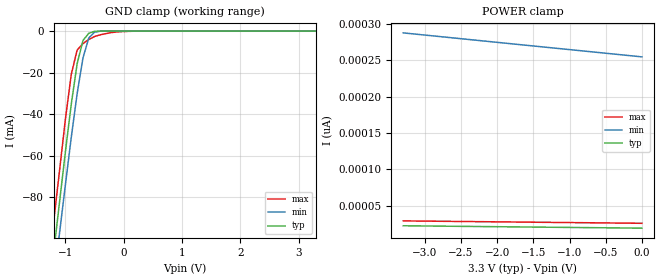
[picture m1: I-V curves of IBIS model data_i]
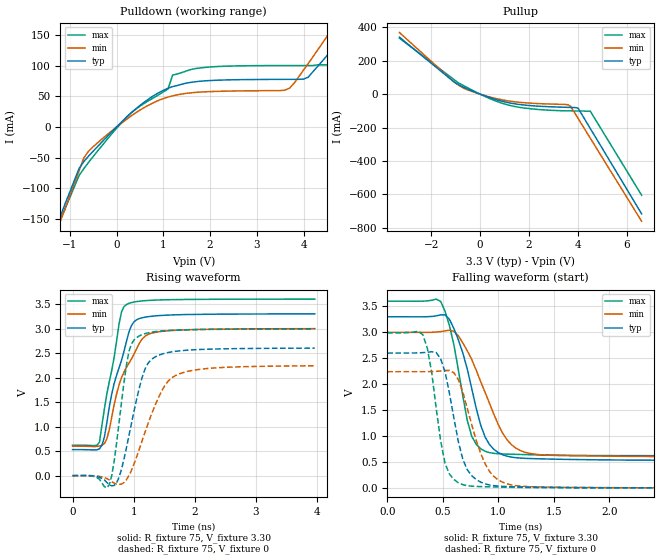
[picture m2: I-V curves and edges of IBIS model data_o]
|   ON Semiconductor Corporation
|   IBIS Model of MC74lcx14DT
|   Low-Voltage CMOS DUAL HEX Schmitt Trigger Inverter
|   TSSOP-14 (DT) Package Type
[IBIS Ver]   3.2
[Comment Char]   |_char
[File name]   mc74lcx14dt_c300.ibs
[File Rev]   1.0
[Date]   04/02/03
[Source]
From DC lab measurements and simulations for AC at ON Semiconductor
[Notes]
Created by Duane Mattheisen
Modeling Support Engineer
| This model represents the MC74lcx14DT where 3.00 <= Vcc =< 3.60
[Disclaimer]
ON Semiconductor Corporation hereby grants
the user of this IBIS model a license to use this IBIS
model under the following terms. This license in non-exclusive
and non-transferable. Before using this IBIS model. After reading
the terms and conditions of this license, the user either must accept
these terms, or the IBIS model should be returned to ON within 30 days.
     The user is hereby granted a license to use the
IBIS model. This shall not be construed as a right to sell, or otherwise
profit either by leasing or renting this software.
     The user may modify the IBIS model to suit his specific applications
but rights to derivative works and such modifications shall belong to
ON Semiconductor.
     This IBIS model is provided on an "as is" basis. ON Semiconductor
makes absolutely no warranty with respect to the information contained
herein. By use of this IBIS model, the user assumes full risk as to the
quality and suitability of the model to his particular use, and by using
this model assumes the entire risk. Under all circumstances the user shall
not hold ON Semiconductor liable in any way for the results obtained. ON
Semiconductor reserves the right to make to improve the model for reliability,
function, or design. ON Semiconductor does not convey any license under patent
rights or any other intellectual property rights, including those of third
parties.
ON Semiconductor is not obligated to provide maintenance or support
for the licensed IBIS model.
Cont ON at ATTN:LOGIC APPLICATIONS/IBIS MODEL.
5005 E. McDowell Road, Phoenix AZ 85008
[Copyright]
(c) 2002 ON Semiconductor Corp.
[Component]   mc74lcx14dt
Si_location Pin
Timing_location Pin
[Manufacturer]   ON Semiconductor Corp.
[Package]
|   Typ   Min   Max
R_pkg   0.167   0.164   0.171
L_pkg   2.13nH   1.90nH   2.58nH
C_pkg   0.25pF   0.23pF   0.27pF
[Pin] signal_name   model_name   R_pin   L_pin   C_pin
1   A1   data_i   .171   2.58nH   .27pF
2   Bar_O1   data_o   .164   2.12nH   .25pF
3   A2   data_i   .167   2.35nH   .26pF
4   Bar_O2   data_o   .164   2.12nH   .25pF
5   A3   data_i   .160   1.90nH   .23pF
6   Bar_O3   data_o   .164   2.12nH   .25pF
7   GND   GND   .171   2.58nH   .27pF
8   Bar_O4   data_o   .160   1.90nH   .23pF
9   A4   data_i   .164   2.12nH   .25pF
10   Bar_O5   data_o   .164   2.12nH   .25pF
11   A5   data_i   .171   2.58nH   .27pF
12   Bar_O6   data_o   .167   2.35nH   .26pF
13   A6   data_i   .164   2.12nH   .25pF
14   VCC   POWER   .171   2.58nH   .27pF
| Models and submodels in the file (2): data_i (Input), data_o (Output)
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[Model]   data_i
Model_type Input
 Vinh=2.0
 Vinl=0.8
| variable   typ   min   max
C_comp   7.0pf   7.0pf   7.0pf
[Model Spec]
 Vinh+  2.2  2.2  2.2  | Over ride VINL and VINH Thresholds
 Vinh-  1.5  1.5  1.5  |
 Vinl+  1.2  1.2  1.2  |
 Vinl-  0.6  0.6  0.6
[Temperature Range] 25   85   -40
[Voltage Range]   3.30   3.00   3.60
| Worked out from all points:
|   GND clamp passes 1 mA (typ) near -0.60 V on its own axis
[GND Clamp]
-3.3V     -611mA     -606mA     -607mA
-1.3V     -130mA     -143mA     -116mA
-1.2V     -106mA     -120mA     -91.2mA
-1.1V     -81.9mA    -96.8mA    -66.7mA
-1V       -57.8mA    -73.7mA    -42.1mA
-900mV    -35mA      -51mA      -20.7mA
-800mV    -15.7mA    -30.1mA    -9.12mA
-700mV    -4.52mA    -12.9mA    -6mA
-600mV    -1.04mA    -3.25mA    -4.05mA
-500mV    -107uA     -507uA     -2.59mA
0V        -40pA      22.2pA     -200uA
3.3V      -40pA      22.2pA     35.4pA
[POWER Clamp]
-3.3V     22.5pA     288pA      29.2pA
-2.4V     21.6pA     279pA      28.3pA
-2.1V     21.3pA     276pA      28pA
0V        19.2pA     255pA      25.9pA
[Model]   data_o
Model_type Output
Polarity Inverting
Vref=0
Vmeas=1.50
Cref=50p
Rref=500
| variable   typ   min   max
C_comp   8.0pf   8.0pf   8.0pf
[Temperature Range] 25   85   -40
[Voltage Range]   3.30   3.00   3.60
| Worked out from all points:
|   slope of the pulldown table from 0 to 0.495 V, typ, clamps not added: 14.3 ohm
|   slope of the pullup table from 0 to 0.495 V, typ, clamps not added: 19.3 ohm
|   falling waveform, R_fixture 75, V_fixture 3.30: 20-80 % time 206ps typ, 284ps min, 158ps max; typ from 3.3 V to 0.53 V
|   falling waveform, R_fixture 75, V_fixture 0: 20-80 % time 151ps typ, 198ps min, 123ps max; typ from 2.6 V to 0 V
|   rising waveform, R_fixture 75, V_fixture 3.30: 20-80 % time 322ps typ, 398ps min, 246ps max; typ from 0.53 V to 3.3 V
|   rising waveform, R_fixture 75, V_fixture 0: 20-80 % time 284ps typ, 422ps min, 188ps max; typ from 0 V to 2.6 V
[Pullup]
-3.3V     342mA      369mA      335mA
-1.1V     76.7mA     77.1mA     90.7mA
-900mV    59mA       54.7mA     68.5mA
-600mV    36.4mA     30.7mA     45mA
500mV     -25.9mA    -20.9mA    -33.2mA
1.3V      -55.1mA    -43.8mA    -70.5mA
2.2V      -70.3mA    -55.3mA    -89.6mA
3.5V      -78.8mA    -62mA      -100mA
3.7V      -79.6mA    -73.7mA    -100mA
4V        -83.6mA    -145mA     -101mA
4.5V      -206mA     -264mA     -102mA
6.6V      -718mA     -762mA     -606mA
[Pulldown]
-3.3V     -550mA     -584mA     -532mA
-1.3V     -164mA     -174mA     -169mA
-800mV    -67.3mA    -71.1mA    -78.9mA
-600mV    -47.6mA    -39.7mA    -57.8mA
300mV     21.9mA     17.3mA     22.2mA
1.1V      62.9mA     48.6mA     61.6mA
1.2V      65.7mA     50.6mA     84.5mA
3.6V      77.5mA     59.8mA     100mA
4.1V      80.9mA     103mA      100mA
4.7V      133mA      168mA      110mA
5.3V      186mA      233mA      166mA
6.6V      300mA      373mA      287mA
[Ramp]
dV/dt_r  1.56/2.80E-10   1.34/4.40E-10   1.79/2.00E-10
dV/dt_f  1.66/2.00E-10   1.44/2.80E-10   1.79/1.60E-10
[Falling Waveform]
R_fixture=75
C_fixture=0p
V_fixture=3.30
V_fixture_min=3.00
V_fixture_max=3.60
|Time   Typ   Min   Max
|SECONDS   VOLTS   VOLTS   VOLTS
0s        3.3V       3V         3.6V
480ps     3.336V     3.013V     3.597V
600ps     3.071V     3.019V     2.755V
720ps     2.293V     2.644V     1.304V
760ps     1.919V     2.477V     996.9mV
880ps     983.9mV    1.845V     706.6mV
960ps     741.7mV    1.417V     665.1mV
1.08ns    610.2mV    923.5mV    650.9mV
1.28ns    566mV      665.7mV    639.4mV
3.96ns    530mV      600mV      620mV
[Falling Waveform]
R_fixture=75
C_fixture=0p
V_fixture=0
|Time   Typ   Min   Max
|SECONDS   VOLTS   VOLTS   VOLTS
0s        2.6V       2.24V      2.99V
320ps     2.608V     2.24V      2.953V
400ps     2.626V     2.244V     2.224V
480ps     2.491V     2.254V     910.6mV
520ps     2.237V     2.263V     471.8mV
600ps     1.342V     2.219V     160.8mV
680ps     550.9mV    1.848V     61.22mV
880ps     77.81mV    466.9mV    22.31mV
1.08ns    25.43mV    76.41mV    12.25mV
3.96ns    0V         0V         0V
[Rising Waveform]
R_fixture=75
C_fixture=0p
V_fixture=3.30
V_fixture_min=3.00
V_fixture_max=3.60
|Time   Typ   Min   Max
|SECONDS   VOLTS   VOLTS   VOLTS
0s        530mV      600mV      620mV
440ps     547.2mV    604.8mV    682.8mV
560ps     1.076V     747.7mV    1.662V
640ps     1.662V     1.188V     2.143V
760ps     2.198V     1.848V     3.096V
880ps     2.731V     2.205V     3.49V
1ns       3.131V     2.466V     3.539V
1.16ns    3.225V     2.816V     3.566V
1.32ns    3.254V     2.914V     3.578V
3.96ns    3.3V       3V         3.6V
[Rising Waveform]
R_fixture=75
C_fixture=0p
V_fixture=0
|Time   Typ   Min   Max
|SECONDS   VOLTS   VOLTS   VOLTS
0s        0V         0V         0V
600ps     -185.9mV   -85.37mV   -186.6mV
680ps     -201mV     -153.3mV   289.7mV
760ps     -34.08mV   -179.4mV   1.078V
920ps     803.6mV    -4.451mV   2.521V
1.08ns    1.729V     500.2mV    2.842V
1.28ns    2.358V     1.216V     2.924V
1.52ns    2.499V     1.858V     2.957V
1.72ns    2.541V     2.063V     2.969V
3.96ns    2.6V       2.24V      2.99V
